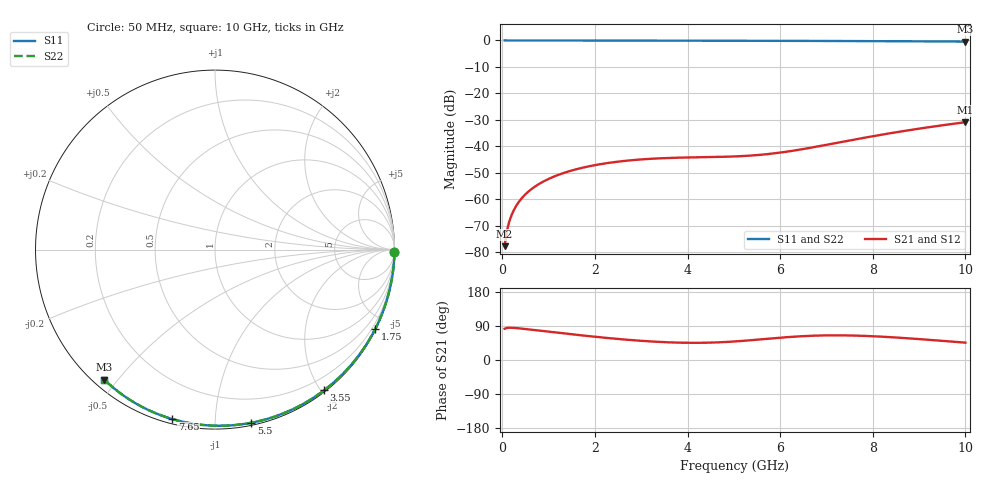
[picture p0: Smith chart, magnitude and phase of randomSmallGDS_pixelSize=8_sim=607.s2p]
! freq	dB(S11)	phase(S11)	dB(S12)	phase(S12)
!  dB(S21)	phase(S21)	dB(S22)	phase(S22)
!S-par simulation data
#  GHz  S  DB  R 50
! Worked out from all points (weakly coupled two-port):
!   200 points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, 50 MHz to 10 GHz, reference 50 ohm
!   highest |S21| = -30.90 dB at 10 GHz (marker M1); lowest = -77.8 dB at 50 MHz (marker M2)
!   lowest |S11| = -0.4 dB at 10 GHz (marker M3), VSWR 40.15, Z = 1.51 - j23.1 ohm
!   |S11| at or under -10 dB: nowhere
!   |S22| runs from -0.4 to 0.0 dB; largest |S21 - S12| = 0
!   S11 on the Smith chart (normalised r, x): 50 MHz: open; 1.75 GHz: 0.04, -4.27; 3.55 GHz: 0.02, -2.04; 5.5 GHz: 0.02, -1.23; 7.65 GHz: 0.02, -0.78; 10 GHz: 0.03, -0.46
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0.05  -0.00 -0.8  -77.79 82.4  -77.79 82.4  -0.00 -0.8
0.1  -0.00 -1.5  -72.00 84.8  -72.00 84.8  -0.00 -1.5
0.15  -0.00 -2.3  -68.53 85.2  -68.53 85.2  -0.00 -2.3
0.2  -0.00 -3.1  -66.05 85.1  -66.05 85.1  -0.00 -3.1
0.25  -0.00 -3.8  -64.13 84.8  -64.13 84.8  -0.00 -3.8
0.35  -0.00 -5.4  -61.23 83.7  -61.23 83.7  -0.00 -5.4
0.5  -0.01 -7.6  -58.17 81.8  -58.17 81.8  -0.01 -7.6
0.7  -0.01 -10.7  -55.31 79.0  -55.31 79.0  -0.01 -10.7
1  -0.02 -15.2  -52.35 74.8  -52.35 74.8  -0.02 -15.2
1.35  -0.03 -20.4  -49.97 69.9  -49.97 69.9  -0.03 -20.4
1.75  -0.03 -26.4  -48.05 64.5  -48.05 64.5  -0.03 -26.4
2.5  -0.05 -37.4  -45.82 55.5  -45.82 55.5  -0.05 -37.4
3.4  -0.07 -50.1  -44.57 47.7  -44.57 47.7  -0.07 -50.1
3.55  -0.07 -52.2  -44.46 46.8  -44.46 46.8  -0.07 -52.2
4.3  -0.09 -62.5  -44.15 45.4  -44.15 45.4  -0.09 -62.5
5.05  -0.11 -72.4  -43.83 49.2  -43.83 49.2  -0.11 -72.4
5.5  -0.13 -78.2  -43.35 53.6  -43.35 53.6  -0.13 -78.2
6.05  -0.15 -85.1  -42.28 59.3  -42.28 59.3  -0.15 -85.1
6.7  -0.18 -93.0  -40.44 64.0  -40.44 64.0  -0.18 -93.0
7.65  -0.23 -104.2  -37.33 64.3  -37.33 64.3  -0.23 -104.2
8.35  -0.28 -112.2  -35.16 60.5  -35.16 60.5  -0.28 -112.2
10  -0.43 -130.5  -30.90 45.8  -30.90 45.8  -0.43 -130.5
